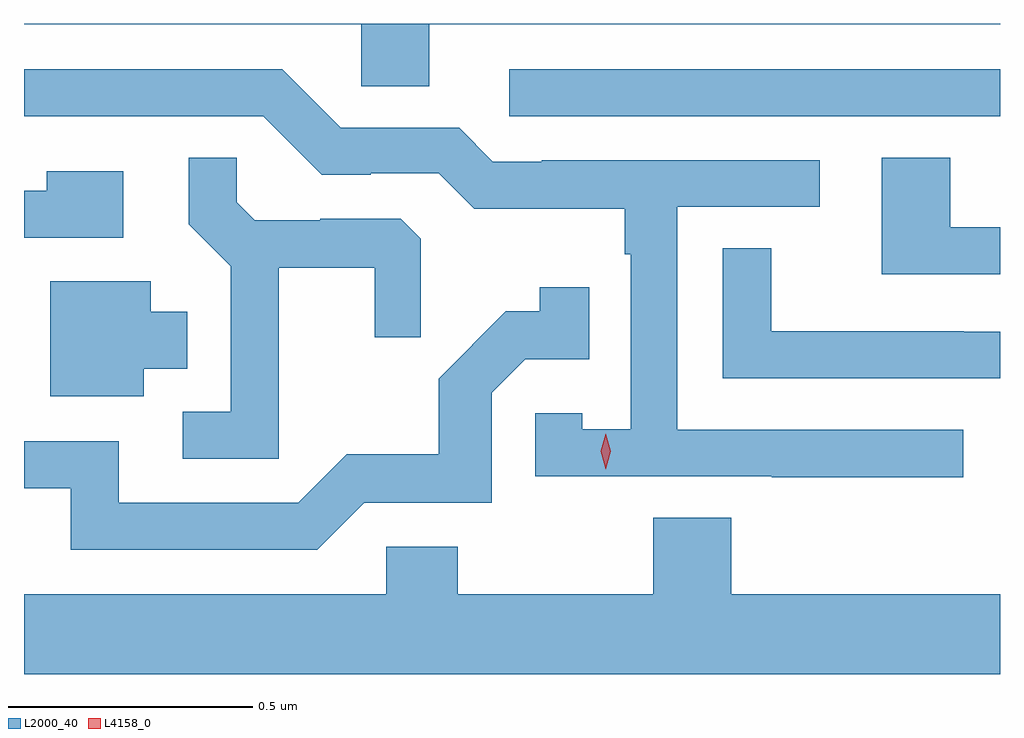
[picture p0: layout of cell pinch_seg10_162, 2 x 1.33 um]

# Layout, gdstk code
import gdstk
lib = gdstk.Library(unit=1e-6, precision=1e-09)
def R(c, l, rs):  # rectangles x0, y0, x1, y1
    for r in rs: c.add(gdstk.rectangle(r[:2], r[2:], *l))
def P(c, l, *ps):  # polygons
    for p in ps: c.add(gdstk.Polygon(p, *l))
L2000_40 = (2000, 40)
L4158_0 = (4158, 0)

pinch_seg10_162 = lib.new_cell('pinch_seg10_162')
R(pinch_seg10_162, L2000_40, [(759.441,1268.16,760.447,1268.256)])
P(pinch_seg10_162, L2000_40, [(759.277,1268.348),(760.447,1268.348),(760.447,1268.35),(758.447,1268.35),(758.447,1268.348),(759.138,1268.348),(759.138,1268.221),(759.277,1268.221)],
  [(760.372,1267.518),(759.786,1267.518),(759.786,1267.974),(760.078,1267.974),(760.078,1268.07),(759.508,1268.07),(759.508,1268.067),(759.408,1268.067),(759.339,1268.136),(759.096,1268.136),(758.976,1268.256),(758.447,1268.256),(758.447,1268.16),(758.937,1268.16),(759.057,1268.04),(759.158,1268.04),(759.158,1268.043),(759.297,1268.043),(759.37,1267.97),(759.678,1267.97),(759.678,1267.877),(759.69,1267.877),(759.69,1267.519),(759.591,1267.519),(759.591,1267.551),(759.495,1267.551),(759.495,1267.422),(759.979,1267.422),(759.979,1267.42),(760.372,1267.42)],
  [(760.447,1267.932),(760.345,1267.932),(760.345,1268.075),(760.205,1268.075),(760.205,1267.836),(760.447,1267.836)],
  [(758.969,1267.85),(759.166,1267.85),(759.166,1267.707),(759.26,1267.707),(759.26,1267.909),(759.219,1267.95),(759.054,1267.95),(759.054,1267.947),(758.92,1267.947),(758.883,1267.984),(758.883,1268.075),(758.785,1268.075),(758.785,1267.939),(758.871,1267.853),(758.871,1267.554),(758.772,1267.554),(758.772,1267.458),(758.969,1267.458)],
  [(758.65,1268.047),(758.494,1268.047),(758.494,1268.007),(758.447,1268.007),(758.447,1267.911),(758.65,1267.911)],
  [(760.447,1267.718),(760.373,1267.718),(760.373,1267.719),(759.978,1267.719),(759.978,1267.889),(759.879,1267.889),(759.879,1267.623),(760.447,1267.623)],
  [(758.692,1267.643),(758.782,1267.643),(758.782,1267.759),(758.707,1267.759),(758.707,1267.822),(758.501,1267.822),(758.501,1267.586),(758.692,1267.586)],
  [(759.144,1267.368),(759.405,1267.368),(759.405,1267.593),(759.474,1267.662),(759.605,1267.662),(759.605,1267.81),(759.504,1267.81),(759.504,1267.76),(759.434,1267.76),(759.297,1267.622),(759.297,1267.467),(759.108,1267.467),(759.009,1267.368),(758.641,1267.368),(758.641,1267.494),(758.447,1267.494),(758.447,1267.398),(758.543,1267.398),(758.543,1267.272),(759.048,1267.272)],
  [(760.447,1267.18),(759.896,1267.18),(759.896,1267.337),(759.736,1267.337),(759.736,1267.18),(759.336,1267.18),(759.336,1267.278),(759.189,1267.278),(759.189,1267.18),(758.447,1267.18),(758.447,1267.016),(760.447,1267.016)])
P(pinch_seg10_162, L4158_0, [(759.639,1267.437),(759.639,1267.437),(759.629,1267.473),(759.639,1267.509),(759.639,1267.509),(759.639,1267.509),(759.649,1267.473),(759.639,1267.437)])

lib.write_gds('pinch_seg10_162.gds')
